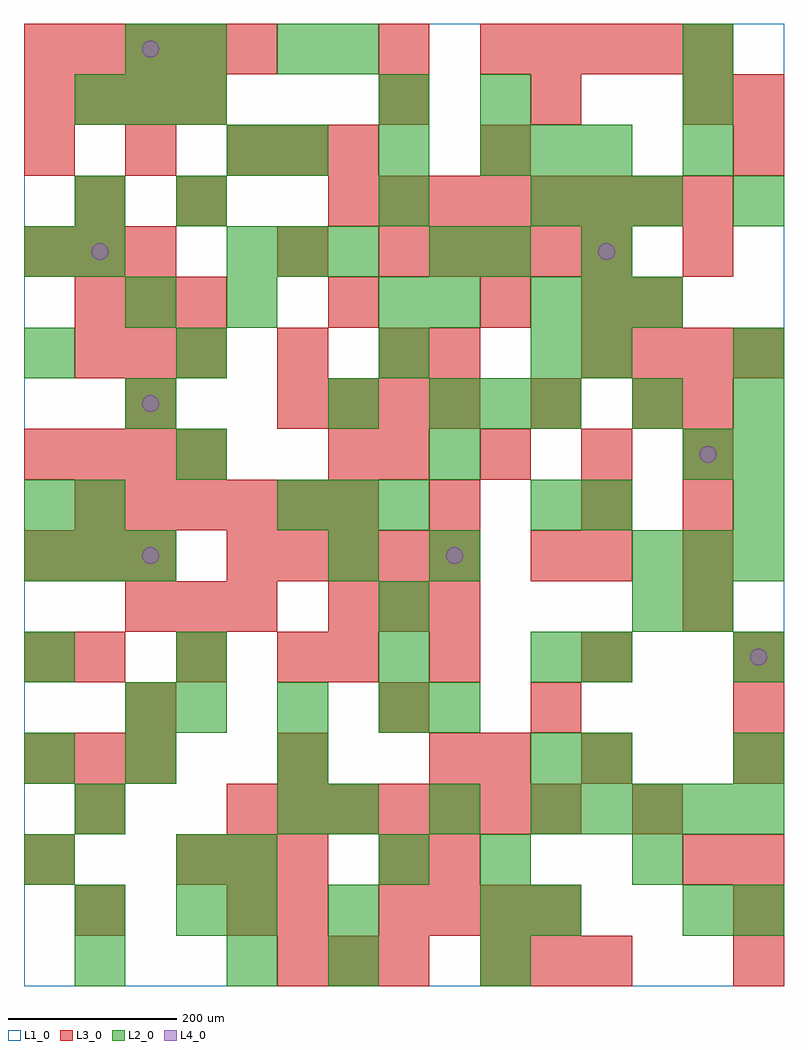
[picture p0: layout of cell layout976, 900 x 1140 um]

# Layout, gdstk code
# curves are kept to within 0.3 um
import gdstk
lib = gdstk.Library(unit=1e-6, precision=1e-09)
def R(c, l, rs):  # rectangles x0, y0, x1, y1
    for r in rs: c.add(gdstk.rectangle(r[:2], r[2:], *l))
def A(c, l, x, y, w, h, nx, ny, dx, dy):  # array of equal rectangles
    R(c, l, [(x+i*dx, y+j*dy, x+i*dx+w, y+j*dy+h) for i in range(nx) for j in range(ny)])
def P(c, l, *ps):  # polygons
    for p in ps: c.add(gdstk.Polygon(p, *l))
L1_0 = (1, 0)
L2_0 = (2, 0)
L3_0 = (3, 0)
L4_0 = (4, 0)

layout976 = lib.new_cell('layout976')
R(layout976, L1_0, [(0,0,900,1140)])
A(layout976, L2_0, 240, 0, 60, 60, 1, 3, 0, 60)
A(layout976, L2_0, 540, 0, 60, 60, 1, 3, 0, 60)
A(layout976, L2_0, 0, 120, 60, 60, 1, 3, 0, 120)
A(layout976, L2_0, 360, 180, 60, 60, 3, 1, 120, 0)
A(layout976, L2_0, 660, 180, 60, 60, 4, 1, 60, 0)
A(layout976, L2_0, 180, 300, 60, 60, 3, 1, 120, 0)
A(layout976, L2_0, 600, 360, 60, 60, 1, 3, 0, 180)
A(layout976, L2_0, 660, 360, 60, 60, 1, 3, 0, 180)
A(layout976, L2_0, 0, 480, 60, 60, 3, 1, 60, 0)
A(layout976, L2_0, 720, 480, 60, 60, 3, 1, 60, 0)
A(layout976, L2_0, 300, 540, 60, 60, 3, 1, 60, 0)
A(layout976, L2_0, 840, 540, 60, 60, 1, 4, 0, 60)
A(layout976, L2_0, 180, 600, 60, 60, 3, 1, 300, 0)
A(layout976, L2_0, 480, 660, 60, 60, 3, 1, 60, 0)
A(layout976, L2_0, 180, 720, 60, 60, 1, 3, 0, 180)
A(layout976, L2_0, 420, 780, 60, 60, 1, 3, 0, 120)
A(layout976, L2_0, 600, 780, 60, 60, 3, 2, 60, 120)
A(layout976, L2_0, 240, 840, 60, 60, 3, 1, 60, 0)
A(layout976, L2_0, 300, 960, 60, 60, 3, 1, 120, 0)
A(layout976, L2_0, 780, 960, 60, 60, 1, 3, 0, 60)
A(layout976, L2_0, 60, 1020, 60, 60, 3, 1, 60, 0)
R(layout976, L2_0, [(60,0,120,60), (360,0,420,60), (60,60,120,120), (180,60,240,120), (360,60,420,120), (600,60,660,120), (780,60,840,120), (840,60,900,120), (180,120,240,180), (420,120,480,180), (720,120,780,180), (60,180,120,240), (300,180,360,240), (120,240,180,300), (300,240,360,300), (600,240,660,300), (660,240,720,300), (840,240,900,300), (120,300,180,360), (480,300,540,360), (180,360,240,420), (420,360,480,420), (840,360,900,420), (420,420,480,480), (720,420,780,480), (780,420,840,480), (360,480,420,540), (480,480,540,540), (0,540,60,600), (60,540,120,600), (120,660,180,720), (360,660,420,720), (720,660,780,720), (0,720,60,780), (420,720,480,780), (120,780,180,840), (240,780,300,840), (480,780,540,840), (0,840,60,900), (60,840,120,900), (480,840,540,900), (540,840,600,900), (660,840,720,900), (60,900,120,960), (840,900,900,960), (240,960,300,1020), (600,960,660,1020), (660,960,720,1020), (540,1020,600,1080), (120,1080,180,1140), (300,1080,360,1140), (360,1080,420,1140)])
A(layout976, L3_0, 300, 0, 60, 60, 3, 1, 60, 0)
A(layout976, L3_0, 540, 0, 60, 60, 3, 1, 60, 0)
A(layout976, L3_0, 840, 0, 60, 60, 1, 3, 0, 60)
A(layout976, L3_0, 420, 60, 60, 60, 4, 1, 60, 0)
A(layout976, L3_0, 180, 120, 60, 60, 3, 1, 60, 0)
A(layout976, L3_0, 240, 180, 60, 60, 7, 1, 60, 0)
A(layout976, L3_0, 0, 240, 60, 60, 3, 2, 60, 240)
A(layout976, L3_0, 600, 300, 60, 60, 1, 3, 0, 180)
A(layout976, L3_0, 60, 360, 60, 60, 3, 1, 120, 0)
A(layout976, L3_0, 480, 360, 60, 60, 3, 1, 180, 0)
A(layout976, L3_0, 120, 420, 60, 60, 3, 1, 60, 0)
A(layout976, L3_0, 360, 420, 60, 60, 3, 1, 60, 0)
A(layout976, L3_0, 780, 420, 60, 60, 1, 3, 0, 60)
A(layout976, L3_0, 240, 480, 60, 60, 5, 1, 60, 0)
A(layout976, L3_0, 60, 540, 60, 60, 6, 1, 60, 0)
A(layout976, L3_0, 0, 600, 60, 60, 4, 2, 60, 420)
A(layout976, L3_0, 360, 600, 60, 60, 1, 3, 0, 180)
A(layout976, L3_0, 420, 600, 60, 60, 4, 1, 120, 0)
A(layout976, L3_0, 300, 660, 60, 60, 4, 1, 60, 0)
A(layout976, L3_0, 60, 720, 60, 60, 3, 2, 60, 60)
A(layout976, L3_0, 300, 720, 60, 60, 1, 3, 0, 120)
A(layout976, L3_0, 660, 720, 60, 60, 4, 1, 60, 0)
A(layout976, L3_0, 0, 840, 60, 60, 3, 1, 60, 0)
A(layout976, L3_0, 420, 840, 60, 60, 5, 1, 60, 0)
A(layout976, L3_0, 360, 900, 60, 60, 8, 1, 60, 0)
A(layout976, L3_0, 0, 960, 60, 60, 3, 1, 120, 0)
A(layout976, L3_0, 420, 1020, 60, 60, 3, 1, 180, 0)
A(layout976, L3_0, 0, 1080, 60, 60, 5, 1, 60, 0)
A(layout976, L3_0, 540, 1080, 60, 60, 5, 1, 60, 0)
R(layout976, L3_0, [(60,60,120,120), (240,60,300,120), (300,60,360,120), (0,120,60,180), (420,120,480,180), (480,120,540,180), (780,120,840,180), (60,180,120,240), (720,180,780,240), (300,240,360,300), (480,240,540,300), (540,240,600,300), (660,240,720,300), (840,240,900,300), (120,300,180,360), (420,300,480,360), (840,300,900,360), (0,360,60,420), (360,360,420,420), (660,480,720,540), (480,540,540,600), (660,540,720,600), (120,660,180,720), (720,660,780,720), (780,660,840,720), (420,720,480,780), (480,720,540,780), (540,780,600,840), (660,780,720,840), (720,780,780,840), (780,840,840,900), (60,900,120,960), (180,900,240,960), (540,960,600,1020), (840,960,900,1020), (840,1020,900,1080), (420,1080,480,1140)])
P(layout976, L4_0, [(100,870),(99.239,873.827),(97.071,877.071),(93.827,879.239),(90,880),(86.173,879.239),(82.929,877.071),(80.761,873.827),(80,870),(80.761,866.173),(82.929,862.929),(86.173,860.761),(90,860),(93.827,860.761),(97.071,862.929),(99.239,866.173)],
  [(160,510),(159.239,513.827),(157.071,517.071),(153.827,519.239),(150,520),(146.173,519.239),(142.929,517.071),(140.761,513.827),(140,510),(140.761,506.173),(142.929,502.929),(146.173,500.761),(150,500),(153.827,500.761),(157.071,502.929),(159.239,506.173)],
  [(160,690),(159.239,693.827),(157.071,697.071),(153.827,699.239),(150,700),(146.173,699.239),(142.929,697.071),(140.761,693.827),(140,690),(140.761,686.173),(142.929,682.929),(146.173,680.761),(150,680),(153.827,680.761),(157.071,682.929),(159.239,686.173)],
  [(160,1110),(159.239,1113.827),(157.071,1117.071),(153.827,1119.239),(150,1120),(146.173,1119.239),(142.929,1117.071),(140.761,1113.827),(140,1110),(140.761,1106.173),(142.929,1102.929),(146.173,1100.761),(150,1100),(153.827,1100.761),(157.071,1102.929),(159.239,1106.173)],
  [(520,510),(519.239,513.827),(517.071,517.071),(513.827,519.239),(510,520),(506.173,519.239),(502.929,517.071),(500.761,513.827),(500,510),(500.761,506.173),(502.929,502.929),(506.173,500.761),(510,500),(513.827,500.761),(517.071,502.929),(519.239,506.173)],
  [(700,870),(699.239,873.827),(697.071,877.071),(693.827,879.239),(690,880),(686.173,879.239),(682.929,877.071),(680.761,873.827),(680,870),(680.761,866.173),(682.929,862.929),(686.173,860.761),(690,860),(693.827,860.761),(697.071,862.929),(699.239,866.173)],
  [(820,630),(819.239,633.827),(817.071,637.071),(813.827,639.239),(810,640),(806.173,639.239),(802.929,637.071),(800.761,633.827),(800,630),(800.761,626.173),(802.929,622.929),(806.173,620.761),(810,620),(813.827,620.761),(817.071,622.929),(819.239,626.173)],
  [(880,390),(879.239,393.827),(877.071,397.071),(873.827,399.239),(870,400),(866.173,399.239),(862.929,397.071),(860.761,393.827),(860,390),(860.761,386.173),(862.929,382.929),(866.173,380.761),(870,380),(873.827,380.761),(877.071,382.929),(879.239,386.173)])

lib.write_gds('layout976.gds')
